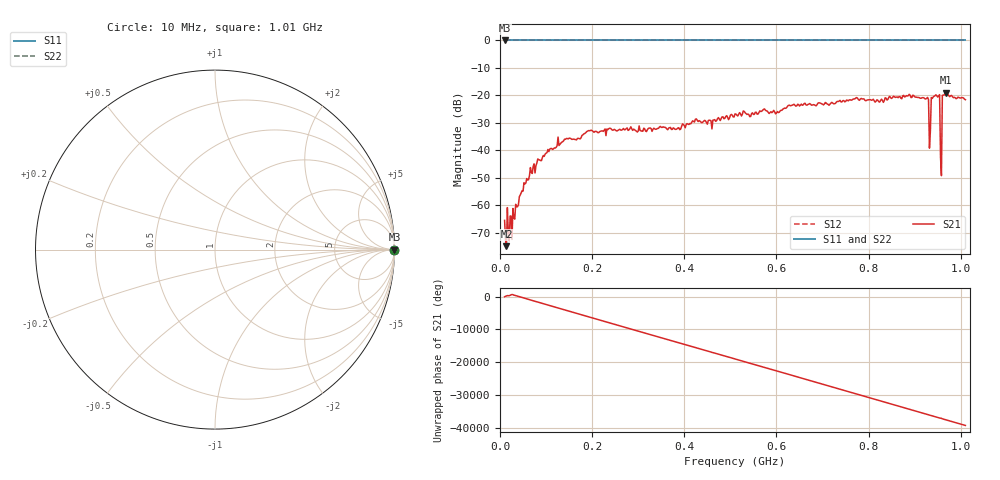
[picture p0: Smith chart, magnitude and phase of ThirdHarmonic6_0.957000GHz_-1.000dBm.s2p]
! 8/16/2025 7:02:11 AM
! C:\ANRITSUVNA\TEMP\TEMP.S2P
! CHANNEL.1
! TR.MEASUREMENT
! RAW.DATA
! RF.CORRECTION.OFF
! AVERAGING.OFF
! IF.BANDWIDTH: 5KHZ
! SWEEPTYPE:  FREQ.SWEEP(Linear)
! Reference Plane Port Info
! PORT:  PORT1  PORT2
! DISTANCE:  0  m  0  m
! TIME:  0  s  0  s
! PHASE.OFFSET:  0  deg.  0  deg.
! LOSS:  0  dB  0  dB
! REF.LOSS:  0  dB  0  dB
! REF.FREQ:  0  Hz  0  Hz
! Power Info
! POWER:  -20  dBm  -20  dBm
! EFF.POWER:  -20  dBm  -20  dBm
! SOURCE.ATTEN:  0  dB  0  dB
! TEST.ATTEN:  0  dB  0  dB
# GHZ S RI R 50.0
! FREQ.GHZ  S11RE  S11IM  S21RE  S21IM  S12RE  S12IM  S22RE  S22IM
!; PortSelection: Port_12
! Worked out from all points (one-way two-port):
!   501 points, 10 MHz to 1.01 GHz, reference 50 ohm
!   highest |S21| = -19.05 dB at 968 MHz (marker M1); lowest = -74.9 dB at 14 MHz (marker M2)
!   lowest |S11| = 0.0 dB at 10 MHz (marker M3)
!   |S11| at or under -10 dB: nowhere
!   |S22| runs from 0.0 to 0.0 dB; largest |S21 - S12| = 1.1
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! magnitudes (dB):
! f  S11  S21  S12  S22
! 10 MHz  0.0  -65.5  0.0  0.0
! 14 MHz  0.0  -74.9  0.0  0.0
! 20 MHz  0.0  -72.8  0.0  0.0
! 22 MHz  0.0  -63.9  0.0  0.0
! 48 MHz  0.0  -54.6  0.0  0.0
! 82 MHz  0.0  -43.1  0.0  0.0
! 130 MHz  0.0  -37.8  0.0  0.0
! 178 MHz  0.0  -34.5  0.0  0.0
! 344 MHz  0.0  -32.0  0.0  0.0
! 510 MHz  0.0  -26.7  0.0  0.0
! 678 MHz  0.0  -23.5  0.0  0.0
! 844 MHz  0.0  -20.6  0.0  0.0
! 926 MHz  0.0  -21.1  0.0  0.0
! 930 MHz  0.0  -21.6  0.0  0.0
! 934 MHz  0.0  -33.0  0.0  0.0
! 940 MHz  0.0  -20.6  0.0  0.0
! 950 MHz  0.0  -20.6  0.0  0.0
! 954 MHz  0.0  -19.7  0.0  0.0
! 960 MHz  0.0  -20.0  0.0  0.0
! 964 MHz  0.0  -19.8  0.0  0.0
! 968 MHz  0.0  -19.1  0.0  0.0
! 1.01 GHz  0.0  -21.6  0.0  0.0
